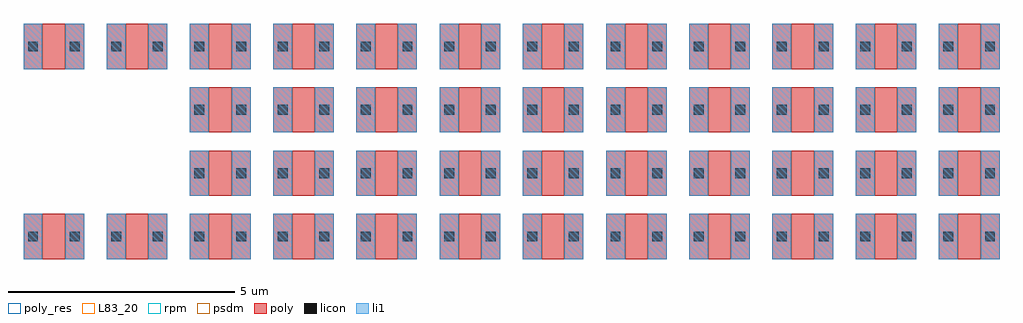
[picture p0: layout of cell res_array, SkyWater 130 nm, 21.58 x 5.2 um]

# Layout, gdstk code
import gdstk
lib = gdstk.Library(unit=1e-6, precision=1e-09)
def R(c, l, rs):  # rectangles x0, y0, x1, y1
    for r in rs: c.add(gdstk.rectangle(r[:2], r[2:], *l))
def A(c, l, x, y, w, h, nx, ny, dx, dy):  # array of equal rectangles
    R(c, l, [(x+i*dx, y+j*dy, x+i*dx+w, y+j*dy+h) for i in range(nx) for j in range(ny)])
poly_res = (66, 13)
poly = (66, 20)
licon = (66, 44)
li1 = (67, 20)
L83_20 = (83, 20)
rpm = (86, 20)
psdm = (94, 20)

res_array = lib.new_cell('res_array')
A(res_array, poly_res, -3.26, 0, 0.5, 1, 12, 2, 1.84, 4.2)
A(res_array, poly_res, 0.42, 1.4, 0.5, 1, 10, 2, 1.84, 1.4)
A(res_array, poly, -3.68, 0, 1.34, 1, 12, 2, 1.84, 4.2)
A(res_array, poly, 0, 1.4, 1.34, 1, 10, 2, 1.84, 1.4)
A(res_array, licon, -3.58, 0.39, 0.22, 0.22, 24, 2, 0.92, 4.2)
A(res_array, licon, 0.1, 1.79, 0.22, 0.22, 20, 2, 0.92, 1.4)
A(res_array, li1, -3.68, 0, 0.42, 1, 24, 2, 0.92, 4.2)
A(res_array, li1, 0, 1.4, 0.42, 1, 20, 2, 0.92, 1.4)
R(res_array, L83_20, [(-3.26,0,-2.76,1), (-1.42,0,-0.92,1), (-3.26,4.2,-2.76,5.2), (-1.42,4.2,-0.92,5.2)])
A(res_array, rpm, -3.26, 0, 0.5, 1, 12, 2, 1.84, 4.2)
A(res_array, rpm, 0.42, 1.4, 0.5, 1, 10, 2, 1.84, 1.4)
A(res_array, psdm, -3.26, 0, 0.5, 1, 12, 2, 1.84, 4.2)
A(res_array, psdm, 0.42, 1.4, 0.5, 1, 10, 2, 1.84, 1.4)

lib.write_gds('res_array.gds')
